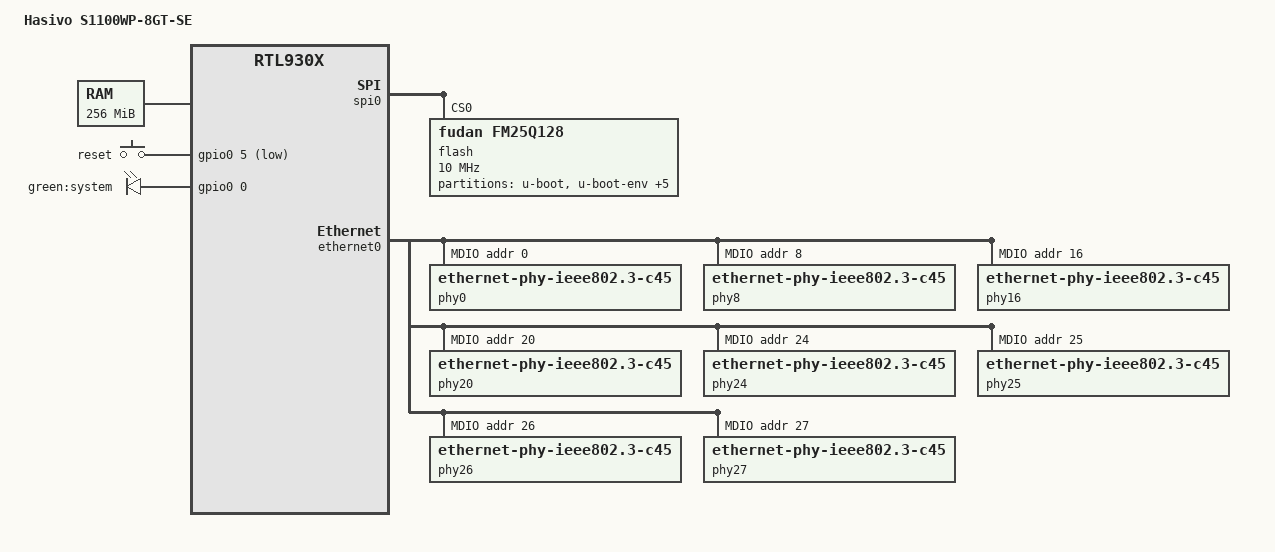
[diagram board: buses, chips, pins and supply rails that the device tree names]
// SPDX-License-Identifier: GPL-2.0-or-later
/dts-v1/;

#include "rtl930x.dtsi"

#include <dt-bindings/input/input.h>
#include <dt-bindings/gpio/gpio.h>
#include <dt-bindings/leds/common.h>

/ {
	compatible = "hasivo,s1100wp-8gt-se";
	model = "Hasivo S1100WP-8GT-SE";

	memory@0 {
		device_type = "memory";
		reg = <0x00000000 0x10000000>; /* 256 MiB */
	};

	aliases {
		led-boot = &led_sys;
		led-failsafe = &led_sys;
		led-running = &led_sys;
		led-upgrade = &led_sys;
	};

	chosen {
		stdout-path = "serial0:115200n8";
	};

	keys {
		compatible = "gpio-keys";

		button-reset {
			label = "reset";
			gpios = <&gpio0 5 GPIO_ACTIVE_LOW>;
			linux,code = <KEY_RESTART>;
		};
	};


	leds {
		compatible = "gpio-leds";

		pinctrl-names = "default";
		pinctrl-0 = <&pinmux_disable_sys_led>;

		led_sys: led-0 {
			label = "green:system";
			gpios = <&gpio0 0 GPIO_ACTIVE_HIGH>;
			linux,default-trigger = "heartbeat";
		};
	};

	led_set: led_set {
		compatible = "realtek,rtl9300-leds";
		realtek,rtl93xx-led-sync;

		led_set0 = <
		(	// GREEN LEFT RJ45
			RTL93XX_LED_SET_1G | RTL93XX_LED_SET_2P5G |
			RTL93XX_LED_SET_LINK
		)
		(	// ORANGE LEFT RJ45
			RTL93XX_LED_SET_10M | RTL93XX_LED_SET_100M | RTL93XX_LED_SET_2P5G |
			RTL93XX_LED_SET_LINK
		)
		(	// GREEN RIGHT RJ45
			RTL93XX_LED_SET_10M | RTL93XX_LED_SET_100M | RTL93XX_LED_SET_1G | RTL93XX_LED_SET_2P5G |
			RTL93XX_LED_SET_ACT
		)
		>;
	};
};

&spi0 {
	status = "okay";

	flash@0 {
		compatible = "fudan,fm25q128", "winbond,w25q256jv", "jedec,spi-nor";
		reg = <0>;
		spi-max-frequency = <10000000>;
		/*spi-tx-width = <4>;*/
		/*spi-rx-width = <4>;*/
		/*spi-max-frequency = <104000000>;*/

		partitions {
			compatible = "fixed-partitions";
			#address-cells = <1>;
			#size-cells = <1>;

			/* stock is LOADER */
			partition@0 {
				label = "u-boot";
				reg = <0x0000000 0x00e0000>;
				read-only;
			};

			/* stock is BDINFO */
			partition@e0000 {
				label = "u-boot-env";
				reg = <0x00e0000 0x0010000>;
			};

			/* stock is SYSINFO */
			partition@f0000 {
				label = "u-boot-env2";
				reg = <0x00f0000 0x0010000>;
				read-only;
			};

			/* stock is JFFS2_CFG */
			partition@100000 {
				label = "jffs";
				reg = <0x0100000 0x0100000>;
			};

			/* stock is JFFS2_LOG */
			partition@200000 {
				label = "jffs2";
				reg = <0x0200000 0x0100000>;
			};

			/* stock is RUNTIME */
			partition@300000 {
				compatible = "openwrt,uimage", "denx,uimage";
				label = "firmware";
				reg = <0x0300000 0x0c00000>;
				openwrt,ih-magic = <0x93030000>;
			};

			/* stock is OEMINFO */
			partition@f00000 {
				label = "oeminfo";
				reg = <0x0f00000 0x0100000>;
				read-only;
			};
		};
	};
};

/*
&crypto0 {
	status = "disabled";
};
*/

&ethernet0 {
	mdio: mdio-bus {
		compatible = "realtek,rtl838x-mdio";
		regmap = <&ethernet0>;
		#address-cells = <1>;
		#size-cells = <0>;

		/* External RTL8221B PHY */
		phy0: ethernet-phy@0 {
			reg = <0>;
			compatible = "ethernet-phy-ieee802.3-c45";
			rtl9300,smi-address = <0 1>;
			sds = <2>;
		};

		/* External RTL8221B PHY */
		phy8: ethernet-phy@8 {
			reg = <8>;
			compatible = "ethernet-phy-ieee802.3-c45";
			rtl9300,smi-address = <0 2>;
			sds = <3>;
		};

		/* External RTL8221B PHY */
		phy16: ethernet-phy@16 {
			reg = <16>;
			compatible = "ethernet-phy-ieee802.3-c45";
			rtl9300,smi-address = <0 3>;
			sds = <4>;
		};

		/* External RTL8221B PHY */
		phy20: ethernet-phy@20 {
			reg = <20>;
			compatible = "ethernet-phy-ieee802.3-c45";
			rtl9300,smi-address = <0 4>;
			sds = <5>;
		};

		/* External RTL8221B PHY */
		phy24: ethernet-phy@24 {
			reg = <24>;
			compatible = "ethernet-phy-ieee802.3-c45";
			rtl9300,smi-address = <1 1>;
			sds = <6>;
		};

		/* External RTL8221B PHY */
		phy25: ethernet-phy@25 {
			reg = <25>;
			compatible = "ethernet-phy-ieee802.3-c45";
			rtl9300,smi-address = <1 2>;
			sds = <7>;
		};

		/* External RTL8221B PHY */
		phy26: ethernet-phy@26 {
			reg = <26>;
			compatible = "ethernet-phy-ieee802.3-c45";
			rtl9300,smi-address = <1 3>;
			sds = <8>;
		};

		/* External RTL8221B PHY */
		phy27: ethernet-phy@27 {
			reg = <27>;
			compatible = "ethernet-phy-ieee802.3-c45";
			rtl9300,smi-address = <1 4>;
			sds = <9>;
		};
	};
};

&switch0 {
	pinctrl-names = "default";
    pinctrl-0 = <&pinmux_enable_led_sync>;

	ports {
		#address-cells = <1>;
		#size-cells = <0>;

		port@0 {
			reg = <0>;
			label = "lan1";
			phy-mode = "2500base-x";
			phy-handle = <&phy0>;
			led-set = <0>;
		};

		port@8 {
			reg = <8>;
			label = "lan2";
			phy-mode = "2500base-x";
			phy-handle = <&phy8>;
			led-set = <0>;
		};

		port@16 {
			reg = <16>;
			label = "lan3";
			phy-mode = "2500base-x";
			phy-handle = <&phy16>;
			led-set = <0>;
		};

		port@20 {
			reg = <20>;
			label = "lan4";
			phy-mode = "2500base-x";
			phy-handle = <&phy20>;
			led-set = <0>;
		};

		port@24 {
			reg = <24>;
			label = "lan5";
			phy-mode = "2500base-x";
			phy-handle = <&phy24>;
			led-set = <0>;
		};

		port@25 {
			reg = <25>;
			label = "lan6";
			phy-mode = "2500base-x";
			phy-handle = <&phy25>;
			led-set = <0>;
		};

		port@26 {
			reg = <26>;
			label = "lan7";
			phy-mode = "2500base-x";
			phy-handle = <&phy26>;
			led-set = <0>;
		};

		port@27 {
			reg = <27>;
			label = "lan8";
			phy-mode = "2500base-x";
			phy-handle = <&phy27>;
			led-set = <0>;
		};

		/* Internal SoC */
		port@28 {
			ethernet = <&ethernet0>;
			reg = <28>;
			phy-mode = "internal";

			fixed-link {
				speed = <10000>;
				full-duplex;
			};
		};
	};
};
